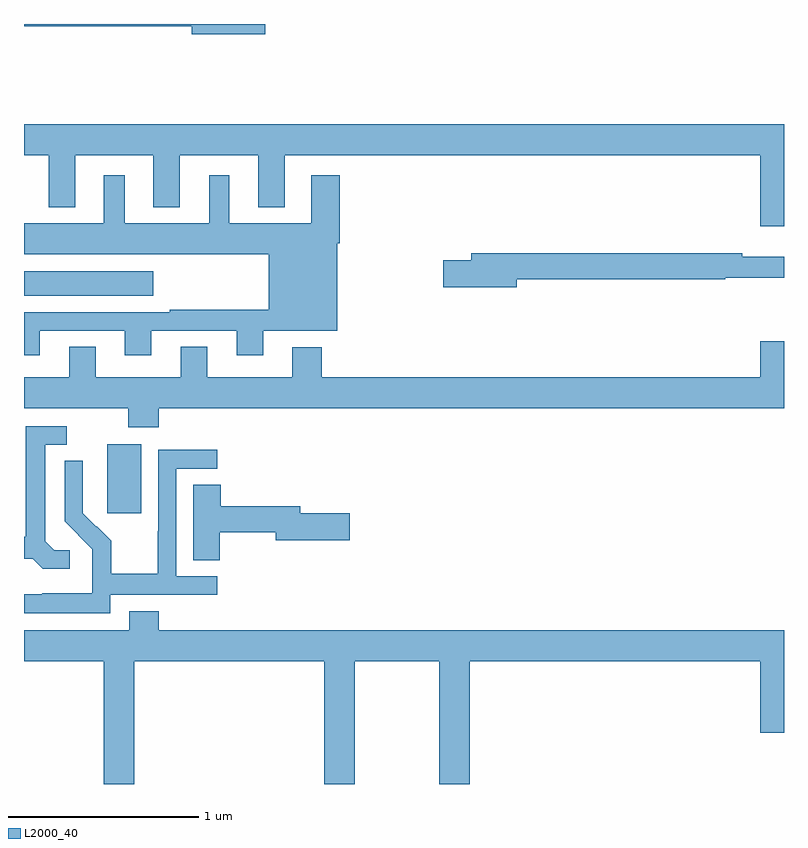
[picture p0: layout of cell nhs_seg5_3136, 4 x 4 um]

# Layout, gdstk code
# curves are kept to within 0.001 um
import gdstk
lib = gdstk.Library(unit=1e-6, precision=1e-09)
def R(c, l, rs):  # rectangles x0, y0, x1, y1
    for r in rs: c.add(gdstk.rectangle(r[:2], r[2:], *l))
def P(c, l, *ps):  # polygons
    for p in ps: c.add(gdstk.Polygon(p, *l))
L2000_40 = (2000, 40)

nhs_seg5_3136 = lib.new_cell('nhs_seg5_3136')
R(nhs_seg5_3136, L2000_40, [(293.438,840.225,293.617,840.586), (293,841.37,293.68,841.498)])
P(nhs_seg5_3136, L2000_40, [(294.271,842.799),(293,842.799),(293,842.788),(293.882,842.788),(293.882,842.746),(294.271,842.746)],
  [(297,842.272),(293,842.272),(293,842.108),(293.129,842.108),(293.129,841.835),(293.269,841.835),(293.269,842.108),(293.681,842.108),(293.681,841.835),(293.821,841.835),(293.821,842.108),(294.233,842.108),(294.233,841.835),(294.373,841.835),(294.373,842.108),(296.876,842.108),(296.876,841.734),(297,841.734)],
  [(293.083,841.185),(293.531,841.185),(293.531,841.056),(293.671,841.056),(293.671,841.185),(294.119,841.185),(294.119,841.056),(294.259,841.056),(294.259,841.184),(294.649,841.184),(294.649,841.646),(294.662,841.646),(294.662,842.002),(294.512,842.002),(294.512,841.75),(294.079,841.75),(294.079,842.002),(293.975,842.002),(293.975,841.75),(293.53,841.75),(293.53,842.002),(293.42,842.002),(293.42,841.75),(293,841.75),(293,841.586),(294.287,841.586),(294.287,841.294),(293.767,841.294),(293.767,841.281),(293,841.281),(293,841.056),(293.083,841.056)],
  [(295.594,841.456),(296.69,841.456),(296.69,841.464),(297,841.464),(297,841.573),(296.78,841.573),(296.78,841.592),(295.355,841.592),(295.355,841.556),(295.206,841.556),(295.206,841.414),(295.594,841.414)],
  [(293.708,840.776),(297,840.776),(297,841.129),(296.876,841.129),(296.876,840.94),(294.566,840.94),(294.566,841.099),(294.413,841.099),(294.413,840.94),(293.965,840.94),(293.965,841.1),(293.825,841.1),(293.825,840.94),(293.377,840.94),(293.377,841.1),(293.237,841.1),(293.237,840.94),(293,840.94),(293,840.776),(293.548,840.776),(293.548,840.677),(293.708,840.677)],
  [(293.242,840.03),(293.16,840.03),(293.113,840.077),(293.113,840.585),(293.224,840.585),(293.224,840.681),(293.009,840.681),(293.009,840.101),(293,840.101),(293,839.985),(293.046,839.985),(293.098,839.933),(293.242,839.933)],
  [(293.454,839.796),(294.016,839.796),(294.016,839.892),(293.802,839.892),(293.802,840.459),(294.016,840.459),(294.016,840.558),(293.706,840.558),(293.706,840.128),(293.704,840.128),(293.704,839.905),(293.459,839.905),(293.459,840.079),(293.382,840.156),(293.379,840.153),(293.309,840.224),(293.31,840.5),(293.214,840.5),(293.214,840.182),(293.36,840.034),(293.36,839.937),(293.358,839.937),(293.358,839.803),(293.095,839.803),(293.095,839.799),(293,839.799),(293,839.699),(293.454,839.699)],
  [(294.03,840.124),(294.326,840.124),(294.326,840.082),(294.715,840.082),(294.715,840.224),(294.454,840.224),(294.454,840.26),(294.035,840.26),(294.035,840.374),(293.891,840.374),(293.891,839.977),(294.03,839.977)],
  [(293.579,839.444),(294.581,839.444),(294.581,838.799),(294.741,838.799),(294.741,839.444),(295.186,839.444),(295.186,838.799),(295.346,838.799),(295.346,839.444),(296.876,839.444),(296.876,839.07),(297,839.07),(297,839.608),(293.708,839.608),(293.708,839.707),(293.555,839.707),(293.555,839.608),(293,839.608),(293,839.444),(293.419,839.444),(293.419,838.799),(293.579,838.799)])

lib.write_gds('nhs_seg5_3136.gds')
